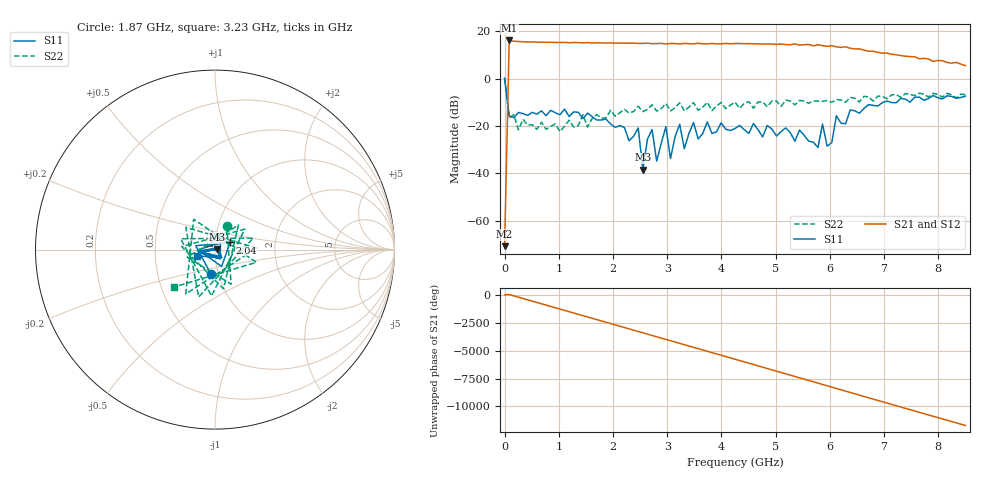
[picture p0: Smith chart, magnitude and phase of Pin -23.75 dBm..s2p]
! RsaToolbox (C) 2013 Rohde & Schwarz America
! Number of points: 101
! Number of ports: 2
! Balanced ports?: 0
# Hz S RI R 50
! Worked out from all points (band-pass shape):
!   101 points, 9 kHz to 8.5 GHz, reference 50 ohm
!   highest |S21| = 16.10 dB at 85.01 MHz (marker M1); lowest = -70.8 dB at 9 kHz (marker M2)
!   |S21| within 3 dB of the highest: 82.08 MHz to 6.334 GHz (6.252 GHz wide, 195 % of centre)
!   lowest |S11| = -38.5 dB at 2.55 GHz (marker M3), VSWR 1.02, Z = 51.2 + j0.173 ohm
!   |S11| at or under -10 dB: 53.77 MHz to 6.992 GHz (6.938 GHz wide, 197 % of centre); 7.118 GHz to 7.235 GHz (116.8 MHz wide, 1.63 % of centre)
!   |S22| runs from -22.4 to 0.3 dB; largest |S21 - S12| = 0
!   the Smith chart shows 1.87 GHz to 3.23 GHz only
!   S11 on the Smith chart (normalised r, x): 1.87 GHz: 0.92, -0.26; 2.04 GHz: 1.18, +0.09; 3.23 GHz: 0.81, -0.06
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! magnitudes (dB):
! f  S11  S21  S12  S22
! 9 kHz  0.1  -70.8  -70.8  0.3
! 85.01 MHz  -15.9  16.1  16.1  -16.6
! 1.02 GHz  -15.3  15.2  15.2  -22.4
! 1.445 GHz  -16.9  15.1  15.1  -15.2
! 1.87 GHz  -17.1  15.0  15.0  -16.7
! 2.04 GHz  -20.6  15.0  15.0  -15.9
! 2.465 GHz  -20.9  14.8  14.8  -11.7
! 2.55 GHz  -38.5  14.9  14.9  -14.0
! 2.72 GHz  -21.5  14.7  14.7  -11.1
! 2.805 GHz  -34.9  14.8  14.8  -13.8
! 2.89 GHz  -27.3  14.9  14.9  -12.7
! 2.975 GHz  -20.3  14.6  14.6  -10.6
! 3.06 GHz  -33.8  14.8  14.8  -13.7
! 3.23 GHz  -19.3  14.6  14.6  -10.2
! 3.315 GHz  -29.6  14.8  14.8  -13.6
! 3.485 GHz  -18.6  14.7  14.7  -10.1
! 3.57 GHz  -25.5  14.9  14.9  -13.4
! 4.25 GHz  -21.1  14.8  14.8  -10.0
! 5.695 GHz  -26.9  13.8  13.8  -9.5
! 6.12 GHz  -15.7  13.4  13.4  -8.8
! 7.14 GHz  -10.2  10.3  10.3  -6.9
! 8.5 GHz  -7.4  5.5  5.5  -6.8
